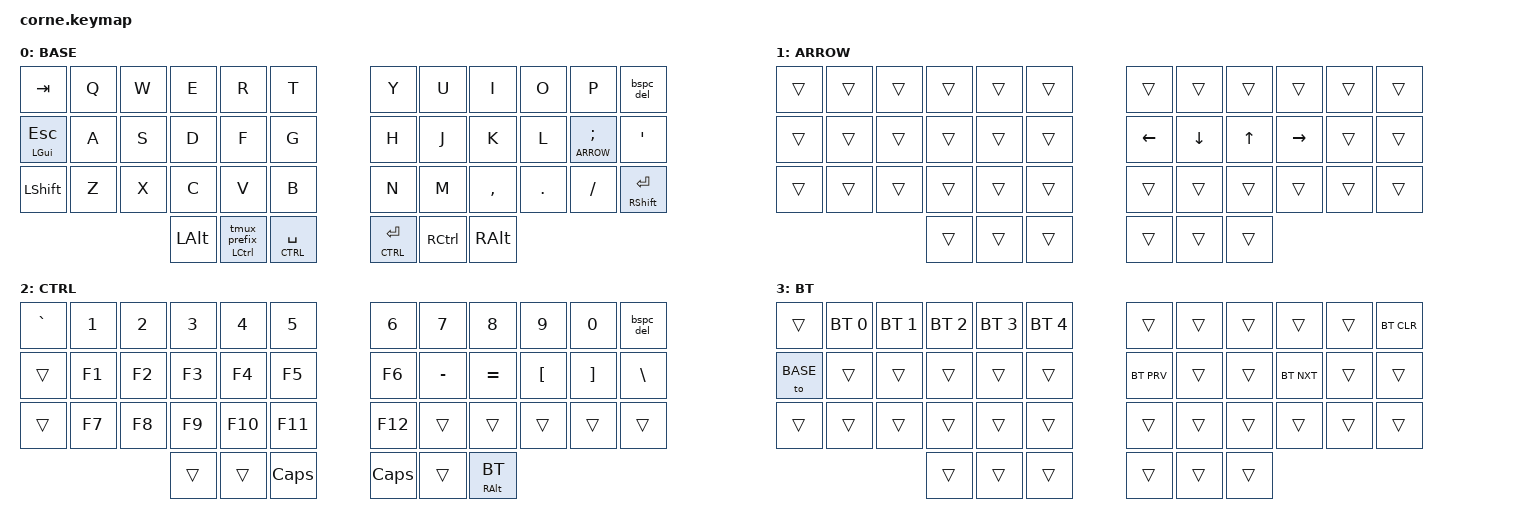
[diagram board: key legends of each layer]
/*
 * Copyright (c) 2020 The ZMK Contributors
 *
 * SPDX-License-Identifier: MIT
 */

#include <behaviors.dtsi>
#include <dt-bindings/zmk/bt.h>
#include <dt-bindings/zmk/keys.h>

#define BASE   0
#define ARROW  1
#define CTRL   2
#define BT     3

/ {
    macros {
        tmux_prefix: tmux_lctrl_b_prefix {
            compatible = "zmk,behavior-macro";
            #binding-cells = <0>;
            bindings
                = <&macro_press &kp LCTRL>
                , <&macro_tap &kp B>
                , <&macro_release &kp LCTRL>
                ;
        };
    };

    behaviors {
        bspc_del: backspace_delete {
            compatible = "zmk,behavior-mod-morph";
            #binding-cells = <0>;
            bindings = <&kp BACKSPACE>, <&kp DELETE>;
            mods = <(MOD_LSFT|MOD_RSFT)>;
        };

        kp_tog: key_press_toggle_layer {
            compatible = "zmk,behavior-hold-tap";
            #binding-cells = <2>;
            flavor = "hold-preferred";
            tapping-term-ms = <200>;
            bindings = <&kp>, <&tog>;
        };

        ht_tmux_ctrl: hold_tap_tmux_ctrl {
            compatible = "zmk,behavior-hold-tap";
            #binding-cells = <2>;
            flavor = "hold-preferred";
            tapping-term-ms = <200>;
            bindings = <&kp>, <&tmux_prefix>;
        };
    };

    keymap {
        compatible = "zmk,keymap";

        BASE {
            display-name = "BASE";
            bindings = <
&kp TAB          &kp Q  &kp W  &kp E  &kp R     &kp T                  &kp Y           &kp U           &kp I      &kp O     &kp P           &bspc_del
&mt LGUI ESCAPE  &kp A  &kp S  &kp D  &kp F     &kp G                  &kp H           &kp J           &kp K      &kp L     &lt ARROW SEMI  &kp SQT
&kp LSHFT        &kp Z  &kp X  &kp C  &kp V     &kp B                  &kp N           &kp M           &kp COMMA  &kp DOT   &kp FSLH        &mt RSHFT ENTER
                                      &kp LALT  &ht_tmux_ctrl LCTRL 0  &lt CTRL SPACE  &lt CTRL ENTER  &kp RCTRL  &kp RALT
            >;
        };

        ARROW {
            display-name = "ARROW";
            bindings = <
&trans  &trans  &trans  &trans  &trans  &trans  &trans    &trans    &trans  &trans     &trans  &trans
&trans  &trans  &trans  &trans  &trans  &trans  &kp LEFT  &kp DOWN  &kp UP  &kp RIGHT  &trans  &trans
&trans  &trans  &trans  &trans  &trans  &trans  &trans    &trans    &trans  &trans     &trans  &trans
                        &trans  &trans  &trans  &trans    &trans    &trans
            >;
        };

        CTRL {
            display-name = "CTRL";
            bindings = <
&kp GRAVE  &kp N1  &kp N2  &kp N3  &kp N4   &kp N5        &kp N6        &kp N7     &kp N8           &kp N9    &kp N0    &bspc_del
&trans     &kp F1  &kp F2  &kp F3  &kp F4   &kp F5        &kp F6        &kp MINUS  &kp EQUAL        &kp LBKT  &kp RBKT  &kp BACKSLASH
&trans     &kp F7  &kp F8  &kp F9  &kp F10  &kp F11       &kp F12       &trans     &trans           &trans    &trans    &trans
                           &trans  &trans   &kp CAPSLOCK  &kp CAPSLOCK  &trans     &kp_tog RALT BT
            >;
        };

        BT {
            display-name = "BT";
            bindings = <
&trans    &bt BT_SEL 0  &bt BT_SEL 1  &bt BT_SEL 2  &bt BT_SEL 3  &bt BT_SEL 4  &trans      &trans  &trans  &trans      &trans  &bt BT_CLR  
&to BASE  &trans        &trans        &trans        &trans        &trans        &bt BT_PRV  &trans  &trans  &bt BT_NXT  &trans  &trans
&trans    &trans        &trans        &trans        &trans        &trans        &trans      &trans  &trans  &trans      &trans  &trans
                                      &trans        &trans        &trans        &trans      &trans  &trans
            >;
        };
    };
};
